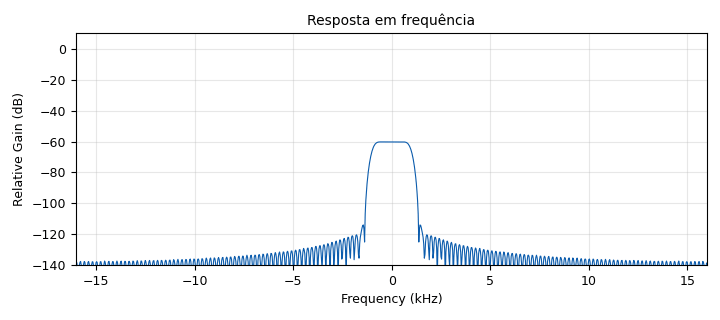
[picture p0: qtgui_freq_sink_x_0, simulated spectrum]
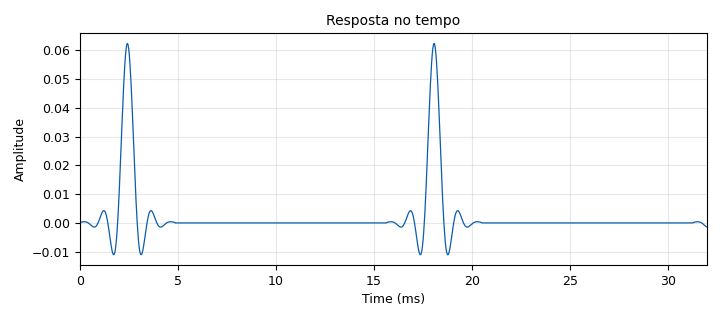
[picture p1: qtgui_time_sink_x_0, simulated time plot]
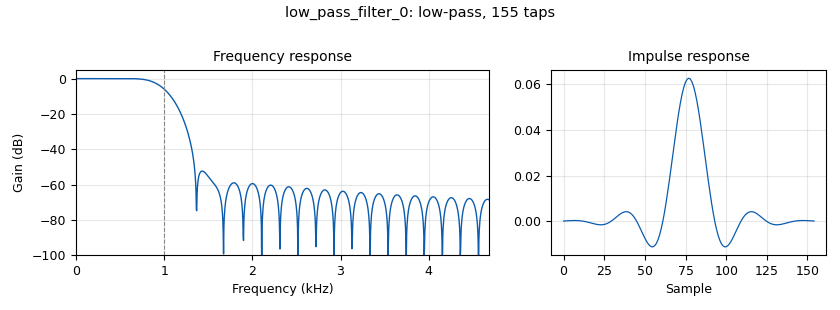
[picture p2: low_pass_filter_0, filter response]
options:
  parameters:
    author: rcampello
    generate_options: qt_gui
    id: E3A
    output_language: python
    title: E3A
  states: {}

blocks:
- name: decfac
  id: variable
  parameters:
    value: '1'
  states: {}
- name: k
  id: variable
  parameters:
    value: '500'
  states: {}
- name: samp_rate
  id: variable
  parameters:
    value: '32000'
  states: {}
- name: tag1
  id: variable_tag_object
  parameters:
    key: pmt.intern("t0")
    offset: '0'
    src: pmt.intern("VecSrc")
    value: pmt.intern("0")
  states: {}
- name: blocks_throttle_0
  id: blocks_throttle
  parameters:
    samples_per_second: samp_rate
    type: float
  states: {}
- name: blocks_vector_source_x_0
  id: blocks_vector_source_x
  parameters:
    repeat: 'True'
    tags: '[tag1]'
    type: float
    vector: np.hstack((1, np.zeros(k)))
  states: {}
- name: import_0
  id: import
  parameters:
    imports: import numpy as np
  states: {}
- name: low_pass_filter_0
  id: low_pass_filter
  parameters:
    cutoff_freq: '1000'
    decim: decfac
    gain: '1'
    interp: '1'
    samp_rate: samp_rate
    type: interp_fir_filter_fff
    width: '500'
    win: firdes.WIN_HAMMING
  states: {}
- name: qtgui_freq_sink_x_0
  id: qtgui_freq_sink_x
  parameters:
    bw: samp_rate / decfac
    fc: '0'
    fftsize: '1024'
    grid: 'True'
    gui_hint: 1, 0, 1, 1
    name: '"Resposta em frequência"'
    type: float
    wintype: firdes.WIN_BLACKMAN_hARRIS
  states: {}
- name: qtgui_time_sink_x_0
  id: qtgui_time_sink_x
  parameters:
    autoscale: 'True'
    grid: 'True'
    gui_hint: 0, 0, 1, 1
    name: '"Resposta no tempo"'
    size: '1024'
    srate: samp_rate / decfac
    tr_mode: qtgui.TRIG_MODE_TAG
    tr_tag: '"t0"'
    type: float
  states: {}

connections:
- [blocks_throttle_0, '0', low_pass_filter_0, '0']
- [blocks_vector_source_x_0, '0', blocks_throttle_0, '0']
- [low_pass_filter_0, '0', qtgui_freq_sink_x_0, '0']
- [low_pass_filter_0, '0', qtgui_time_sink_x_0, '0']

metadata:
  file_format: 1
